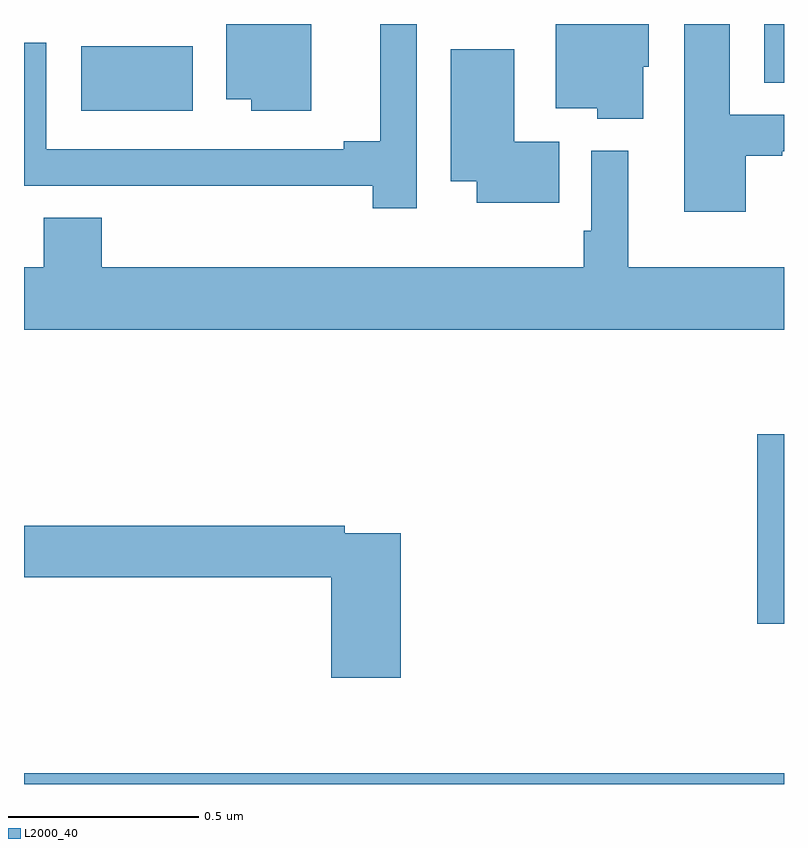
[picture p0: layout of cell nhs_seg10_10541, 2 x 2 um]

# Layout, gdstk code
import gdstk
lib = gdstk.Library(unit=1e-6, precision=1e-09)
def R(c, l, rs):  # rectangles x0, y0, x1, y1
    for r in rs: c.add(gdstk.rectangle(r[:2], r[2:], *l))
def P(c, l, *ps):  # polygons
    for p in ps: c.add(gdstk.Polygon(p, *l))
L2000_40 = (2000, 40)

nhs_seg10_10541 = lib.new_cell('nhs_seg10_10541')
R(nhs_seg10_10541, L2000_40, [(244,1252.5,246,1252.528), (245.93,1252.922,246,1253.421), (244.151,1254.272,244.444,1254.442), (245.948,1254.346,246,1254.5)])
P(nhs_seg10_10541, L2000_40, [(245.034,1254.5),(244.937,1254.5),(244.937,1254.191),(244.841,1254.191),(244.841,1254.171),(244.059,1254.171),(244.059,1254.451),(244,1254.451),(244,1254.075),(244.288,1254.075),(244.288,1254.074),(244.918,1254.074),(244.918,1254.015),(245.034,1254.015)],
  [(244.756,1254.5),(244.532,1254.5),(244.532,1254.302),(244.598,1254.302),(244.598,1254.272),(244.756,1254.272)],
  [(245.899,1254.153),(245.995,1254.153),(245.995,1254.165),(246,1254.165),(246,1254.261),(245.857,1254.261),(245.857,1254.5),(245.738,1254.5),(245.738,1254.006),(245.899,1254.006)],
  [(245.629,1254.387),(245.644,1254.387),(245.644,1254.5),(245.399,1254.5),(245.399,1254.278),(245.508,1254.278),(245.508,1254.251),(245.629,1254.251)],
  [(245.408,1254.19),(245.29,1254.19),(245.29,1254.434),(245.123,1254.434),(245.123,1254.086),(245.192,1254.086),(245.192,1254.029),(245.408,1254.029)],
  [(246,1253.86),(245.59,1253.86),(245.59,1254.166),(245.493,1254.166),(245.493,1253.956),(245.473,1253.956),(245.473,1253.86),(244.205,1253.86),(244.205,1253.99),(244.052,1253.99),(244.052,1253.86),(244,1253.86),(244,1253.696),(246,1253.696)],
  [(244.991,1253.16),(244.844,1253.16),(244.844,1253.18),(244,1253.18),(244,1253.044),(244.808,1253.044),(244.808,1252.779),(244.991,1252.779)])

lib.write_gds('nhs_seg10_10541.gds')
